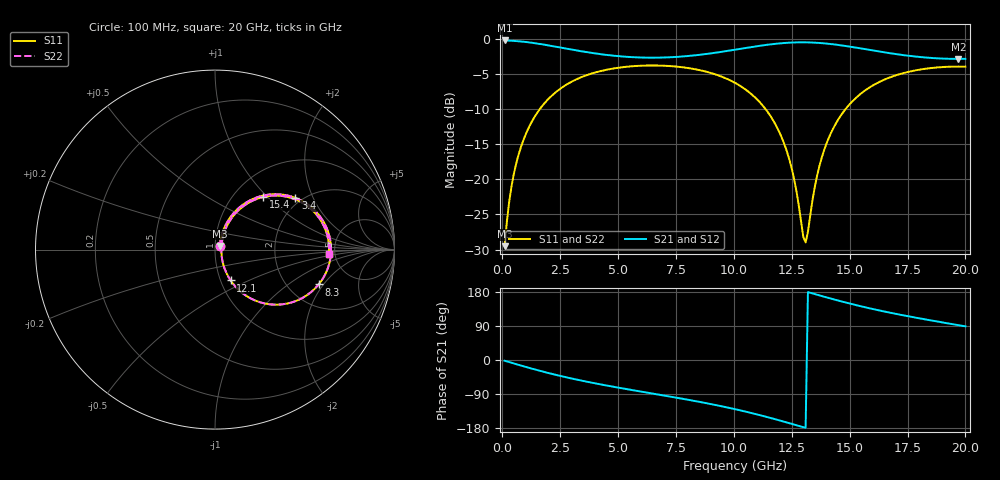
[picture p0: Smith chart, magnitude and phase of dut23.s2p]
! Touchstone file exported from HFSS 2026.1.0
!  File:  C:/ffzhzh/LocalFiles/Ansys_Project_Files/temp_train_TSV_RDL_23_1782963018_45568.aedt
!  Generated:  11:45:47 AM Jul  2, 2026
!  Design:  TSV_RDL
!  Project:  temp_train_TSV_RDL_23_1782963018_45568
! Variables:
!  h_bsmrdl = 5.21um
!  h_ox = 20um
!  h_rdl = 5um
!  h_sub = 82.43um
!  h_tmrdl = 5.14um
!  h_tsv = 82.43um
!  h_via = 3um
!  l_bsmrdl = 670.6um
!  l_sub = 4632.28um
!  l_tmrdl = 537.03um
!  m_sub = 200um
!  pitch = 47.11um
!  r_tsv = 5.79um
!  s_tmrdl = 10um
!  w_bsmrdl = 11.1um
!  w_sub = 500um
!  w_tmrdl = 13.02um
!  x_tsv_center1 = 543.54um
!  x_tsv_center2 = 1225.24um
!  x_tsv_center3 = 1775.29um
!  x_tsv_center4 = 2456.99um
!  x_tsv_center5 = 3007.04um
!  x_tsv_center6 = 3688.74um
# GHz S MA R 50.000000
! Terminal data exported
! Port[1] = TM_RDL1_1_T1
! Port[2] = TM_RDL5_1_T1
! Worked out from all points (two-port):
!   200 points, 100 MHz to 20 GHz, reference 50 ohm
!   highest |S21| = -0.23 dB at 100 MHz (marker M1); lowest = -2.9 dB at 19.7 GHz (marker M2)
!   |S21| within 3 dB of the highest: start of sweep to end of sweep
!   lowest |S11| = -29.5 dB at 100 MHz (marker M3), VSWR 1.07, Z = 52.6 + j2.21 ohm
!   |S11| at or under -10 dB: start of sweep to 1.62 GHz; 11.37 GHz to 14.82 GHz (3.454 GHz wide, 26.4 % of centre)
!   |S22| runs from -29.5 to -3.8 dB; largest |S21 - S12| = 1.6e-14
!   S11 on the Smith chart (normalised r, x): 100 MHz: 1.05, +0.04; 3.4 GHz: 1.85, +1.49; 8.3 GHz: 2.91, -1.80; 12.1 GHz: 1.12, -0.40; 15.4 GHz: 1.36, +0.94; 20 GHz: 4.45, -0.33
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0.1  0.03345 38.8  0.9744 -1.9  0.9744 -1.9  0.03345 38.8
! Gamma 0 0 0 0
! Port Impedance 50 0 50 0
0.3  0.06972 62.4  0.9717 -5.6  0.9717 -5.6  0.06972 62.4
0.5  0.1095 66.5  0.9674 -9.2  0.9674 -9.2  0.1095 66.5
1.1  0.2256 63.1  0.9464 -19.8  0.9464 -19.8  0.2257 63.1
2  0.3748 51.1  0.8983 -34.5  0.8983 -34.5  0.3748 51.1
3.4  0.5325 32.8  0.817 -54.1  0.817 -54.1  0.5325 32.8
3.5  0.5406 31.6  0.8118 -55.4  0.8118 -55.4  0.5406 31.6
5.1  0.626 13.8  0.7512 -73.9  0.7512 -73.9  0.626 13.8
6.8  0.6455 -3.3  0.7355 -91.8  0.7355 -91.8  0.6455 -3.3
8.3  0.6092 -18.6  0.7631 -108.0  0.7631 -108.0  0.6093 -18.6
10.1  0.4814 -39.3  0.84 -130.4  0.84 -130.4  0.4814 -39.3
11.3  0.3271 -54.6  0.9012 -148.3  0.9012 -148.3  0.3271 -54.6
12.1  0.1926 -63.1  0.9323 -161.6  0.9323 -161.6  0.1926 -63.1
12.6  0.1011 -61.6  0.9429 -170.2  0.9429 -170.2  0.101 -61.7
13.1  0.03556 5.0  0.9448 -179.1  0.9448 -179.1  0.03544 5.0
13.4  0.0717 54.7  0.9416 175.7  0.9416 175.7  0.07162 54.7
13.7  0.1252 62.8  0.9353 170.4  0.9353 170.4  0.1252 62.8
14.1  0.1972 62.2  0.9226 163.6  0.9226 163.6  0.1972 62.2
15.4  0.3967 47.5  0.8596 143.0  0.8596 143.0  0.3967 47.6
16.7  0.5288 31.9  0.7924 125.4  0.7924 125.4  0.5288 31.9
19.7  0.6354 0.9  0.7201 91.9  0.7201 91.9  0.6354 0.9
20  0.6346 -2.0  0.7208 88.8  0.7208 88.8  0.6346 -2.0
